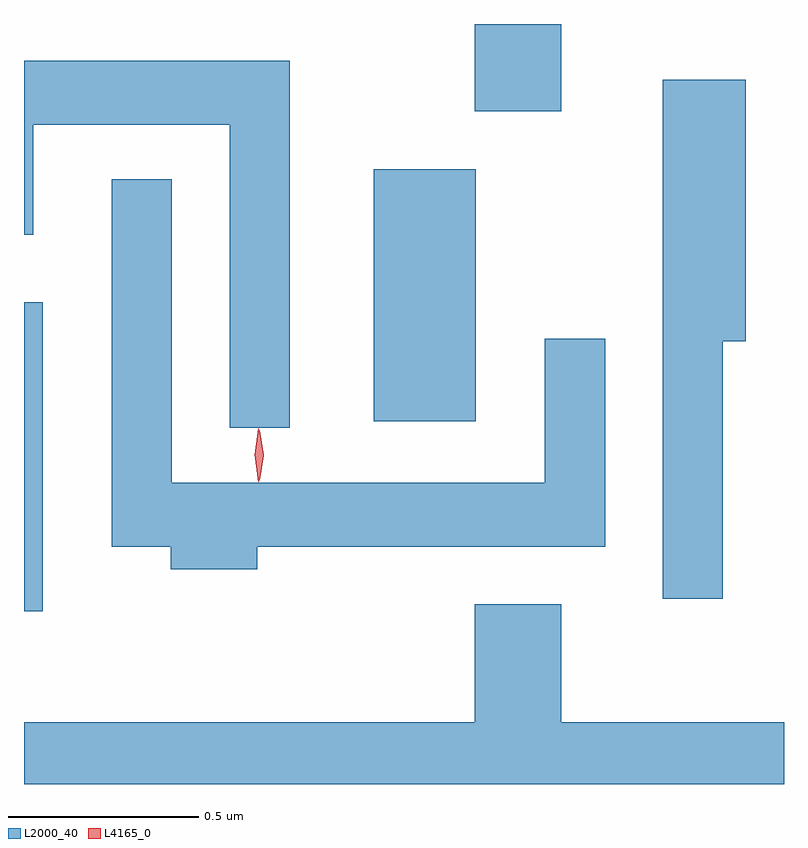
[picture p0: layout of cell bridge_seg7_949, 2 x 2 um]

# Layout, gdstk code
import gdstk
lib = gdstk.Library(unit=1e-6, precision=1e-09)
def R(c, l, rs):  # rectangles x0, y0, x1, y1
    for r in rs: c.add(gdstk.rectangle(r[:2], r[2:], *l))
def P(c, l, *ps):  # polygons
    for p in ps: c.add(gdstk.Polygon(p, *l))
L2000_40 = (2000, 40)
L4165_0 = (4165, 0)

bridge_seg7_949 = lib.new_cell('bridge_seg7_949')
R(bridge_seg7_949, L2000_40, [(488.135,1734.856,488.184,1735.669), (489.056,1735.356,489.324,1736.019), (489.321,1736.171,489.549,1736.401)])
P(bridge_seg7_949, L2000_40, [(488.834,1736.304),(488.135,1736.304),(488.135,1735.846),(488.159,1735.846),(488.159,1736.136),(488.676,1736.136),(488.676,1735.338),(488.834,1735.338)],
  [(489.974,1735.566),(490.034,1735.566),(490.034,1736.254),(489.816,1736.254),(489.816,1734.888),(489.974,1734.888)],
  [(488.749,1735.026),(489.664,1735.026),(489.664,1735.573),(489.506,1735.573),(489.506,1735.194),(488.524,1735.194),(488.524,1735.993),(488.366,1735.993),(488.366,1735.026),(488.521,1735.026),(488.521,1734.966),(488.749,1734.966)],
  [(490.135,1734.564),(489.549,1734.564),(489.549,1734.874),(489.321,1734.874),(489.321,1734.564),(488.135,1734.564),(488.135,1734.401),(490.135,1734.401)])
P(bridge_seg7_949, L4165_0, [(488.752,1735.197),(488.752,1735.197),(488.742,1735.267),(488.752,1735.336),(488.752,1735.336),(488.753,1735.336),(488.762,1735.267),(488.753,1735.197)],
  [(488.756,1735.199),(488.755,1735.2),(488.746,1735.266),(488.755,1735.332),(488.756,1735.333),(488.756,1735.332),(488.766,1735.266),(488.756,1735.2)])

lib.write_gds('bridge_seg7_949.gds')
